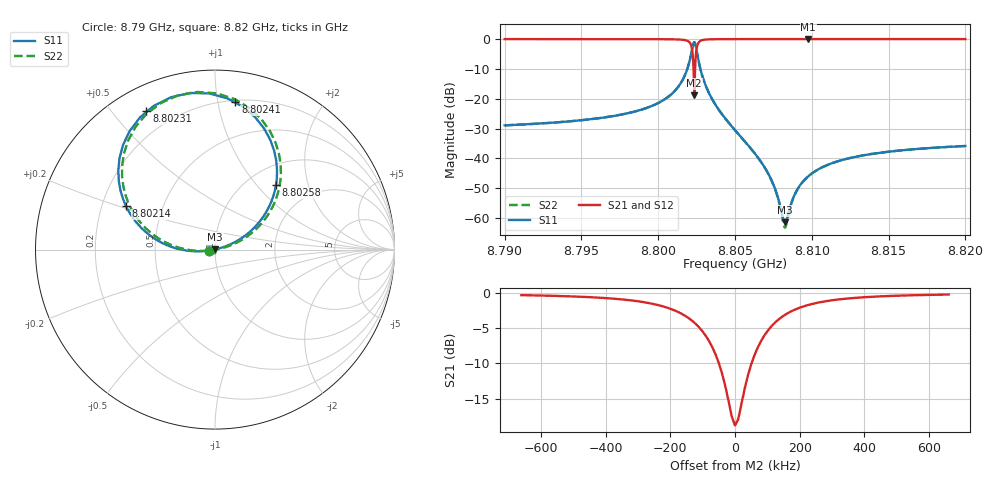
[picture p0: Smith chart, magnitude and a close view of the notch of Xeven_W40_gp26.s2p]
! Sonnet Data File
! From: emgraph Version : 16.52
! From Project: Qubit_Test_beforeopt
! Data is De-embedded
! Data File Written: 10/18/2017 20:39:12
!< HDATE 10/18/2017 18:14:34
!< MDATE 10/18/2017 18:14:34
!< PARAMS
!< Lj = 11.0
!< Gap = 26.0
!< Pwid = 2000.0
!< Airgap = 24.0
!< Width = 40.0
!< END PARAMS
# GHZ S MA R 51.80000
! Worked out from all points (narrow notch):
!   3001 points, 8.79 GHz to 8.82 GHz, reference 51.8 ohm
!   highest |S21| = 0.00 dB at 8.80976 GHz (marker M1); lowest = -18.8 dB at 8.80235 GHz (marker M2)
!   notch at M2: 18.8 dB deep, 110 kHz wide at half that depth
!   lowest |S11| = -61.4 dB at 8.80826 GHz (marker M3), VSWR 1.00, Z = 51.8 + j0.0853 ohm
!   |S11| at or under -10 dB: start of sweep to 8.801894 GHz; 8.802745 GHz to end of sweep
!   |S22| runs from -63.2 to -1.1 dB; largest |S21 - S12| = 0
!   S11 on the Smith chart (normalised r, x): 8.79 GHz: 0.93, -0.01; 8.80214 GHz: 0.30, +0.21; 8.80231 GHz: 0.10, +0.62; 8.80241 GHz: 0.21, +1.13; 8.80258 GHz: 1.33, +1.28; 8.82 GHz: 0.97, -0.00
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8.79  0.03583 -171.0  0.9993 -81.1  0.9993 -81.1  0.03583 -171.3
!< P1 F=8.79 Eeff=(6.4425964 -3.0761e-5) Z0=(50.47845 1.09247e-4) R=0.0 C=0.0
!< P2 F=8.79 Eeff=(6.4425964 -3.0761e-5) Z0=(50.47845 1.09247e-4) R=0.0 C=0.0
8.795  0.04369 -171.3  0.999 -81.6  0.999 -81.6  0.04369 -172.0
8.8  0.08482 -173.5  0.9959 -84.0  0.9959 -84.0  0.08481 -175.2
8.80106  0.1337 -176.5  0.9894 -86.8  0.9894 -86.8  0.1337 -178.5
8.80174  0.2486 176.1  0.9618 -93.5  0.9618 -93.5  0.2486 173.7
8.80199  0.381 167.0  0.9064 -101.5  0.9064 -101.5  0.3809 164.5
8.80214  0.5521 153.9  0.7885 -112.5  0.7885 -112.5  0.552 151.3
8.80231  0.8598 116.4  0.2685 -130.8  0.2685 -130.8  0.8596 113.7
8.80235  0.8854 102.6  0.1148 -82.2  0.1148 -82.2  0.8853 99.9
8.80241  0.8293 82.1  0.3615 -26.9  0.3615 -26.9  0.8291 79.3
8.80258  0.496 46.7  0.8277 -49.5  0.8277 -49.5  0.4959 43.9
8.80276  0.3053 32.9  0.9375 -61.4  0.9375 -61.4  0.3052 29.9
8.80307  0.1714 24.0  0.9802 -69.3  0.9802 -69.3  0.1714 20.8
8.805  0.0298 16.1  0.9992 -77.5  0.9992 -77.5  0.02978 10.4
8.80717  0.005528 21.7  0.9999 -78.9  0.9999 -78.9  0.005496 2.9
8.80766  0.002849 30.0  0.9999 -79.0  0.9999 -79.0  0.002797 -4.3
8.80826  0.0008487 103.8  0.9999 -79.2  0.9999 -79.2  0.0006923 -82.6
8.80894  0.00266 173.8  0.9999 -79.3  0.9999 -79.3  0.002623 -155.1
8.80976  0.004999 -177.6  0.9999 -79.5  0.9999 -79.5  0.004984 -162.6
8.81  0.005598 -176.6  0.9999 -79.5  0.9999 -79.5  0.005585 -163.5
8.815  0.01296 -172.1  0.9999 -80.0  0.9999 -80.0  0.01296 -168.0
8.82  0.01617 -171.6  0.9999 -80.2  0.9999 -80.2  0.01617 -168.9
